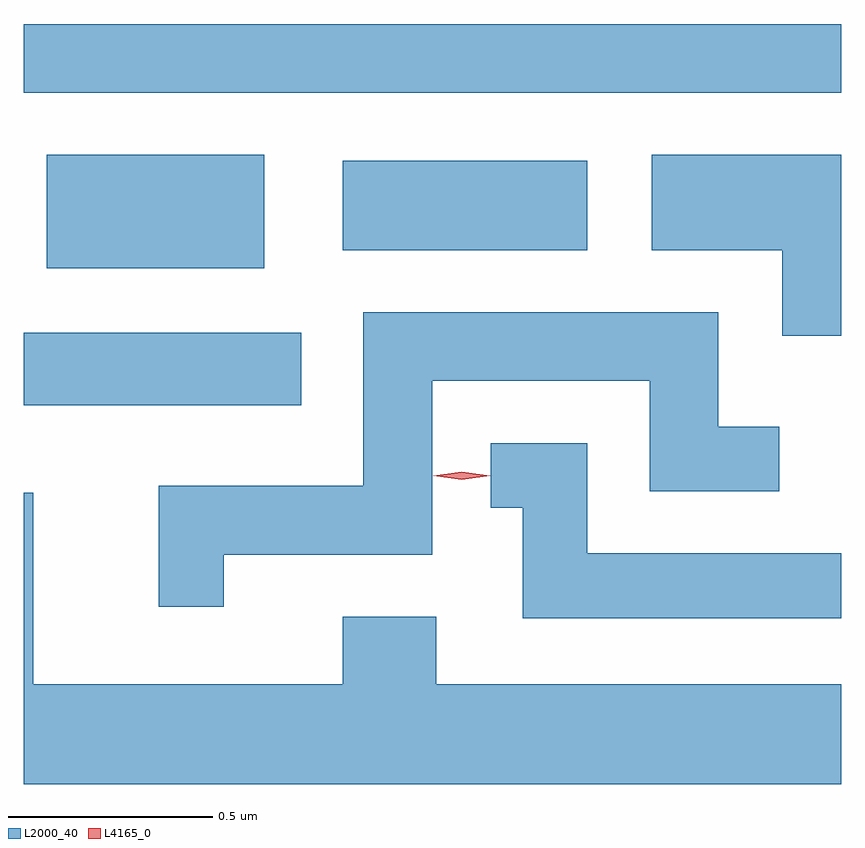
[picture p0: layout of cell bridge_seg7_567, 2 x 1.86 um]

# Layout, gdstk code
import gdstk
lib = gdstk.Library(unit=1e-6, precision=1e-09)
def R(c, l, rs):  # rectangles x0, y0, x1, y1
    for r in rs: c.add(gdstk.rectangle(r[:2], r[2:], *l))
def P(c, l, *ps):  # polygons
    for p in ps: c.add(gdstk.Polygon(p, *l))
L2000_40 = (2000, 40)
L4165_0 = (4165, 0)

bridge_seg7_567 = lib.new_cell('bridge_seg7_567')
R(bridge_seg7_567, L2000_40, [(847.17,1768.546,847.849,1768.724), (847.226,1768.881,847.759,1769.159), (847.951,1768.926,848.549,1769.144), (847.17,1769.311,849.17,1769.479)])
P(bridge_seg7_567, L2000_40, [(849.17,1769.159),(848.706,1769.159),(848.706,1768.926),(849.026,1768.926),(849.026,1768.716),(849.17,1768.716)],
  [(847.659,1768.181),(848.169,1768.181),(848.169,1768.606),(848.701,1768.606),(848.701,1768.336),(849.018,1768.336),(849.018,1768.494),(848.869,1768.494),(848.869,1768.774),(848.001,1768.774),(848.001,1768.349),(847.501,1768.349),(847.501,1768.053),(847.659,1768.053)],
  [(849.17,1768.184),(848.549,1768.184),(848.549,1768.454),(848.313,1768.454),(848.313,1768.296),(848.391,1768.296),(848.391,1768.026),(849.17,1768.026)],
  [(847.17,1768.333),(847.17,1767.62),(849.17,1767.62),(849.17,1767.864),(848.179,1767.864),(848.179,1768.029),(847.951,1768.029),(847.951,1767.864),(847.194,1767.864),(847.194,1768.333)])
P(bridge_seg7_567, L4165_0, [(848.241,1768.364),(848.172,1768.374),(848.172,1768.374),(848.172,1768.374),(848.241,1768.384),(848.311,1768.374),(848.311,1768.374),(848.311,1768.374)])

lib.write_gds('bridge_seg7_567.gds')
